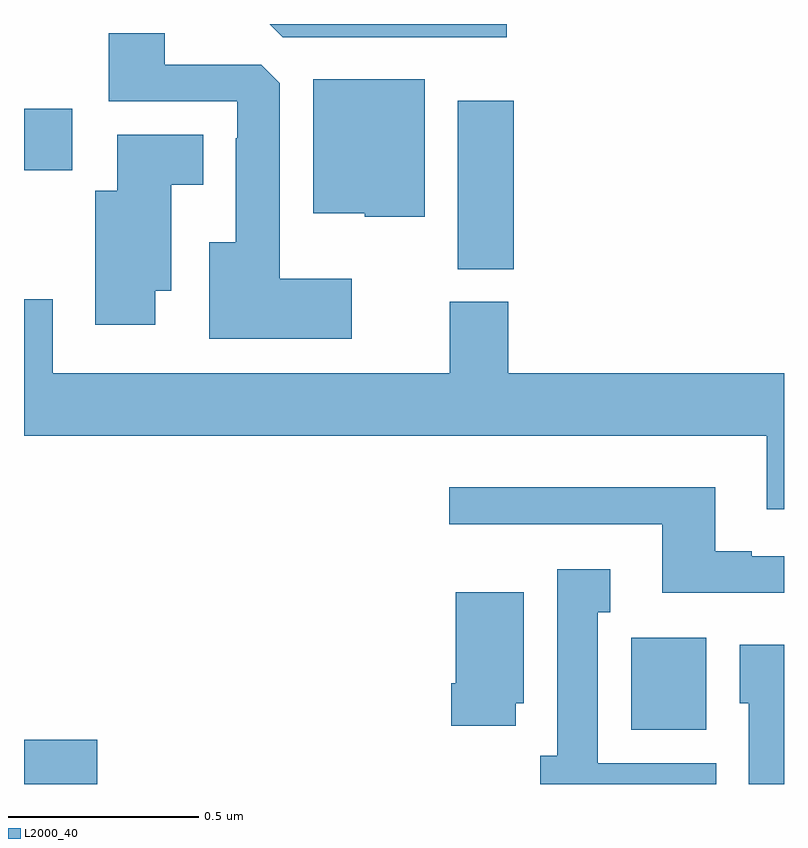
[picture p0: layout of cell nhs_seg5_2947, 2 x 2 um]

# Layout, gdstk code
import gdstk
lib = gdstk.Library(unit=1e-6, precision=1e-09)
def R(c, l, rs):  # rectangles x0, y0, x1, y1
    for r in rs: c.add(gdstk.rectangle(r[:2], r[2:], *l))
def P(c, l, *ps):  # polygons
    for p in ps: c.add(gdstk.Polygon(p, *l))
L2000_40 = (2000, 40)

nhs_seg5_2947 = lib.new_cell('nhs_seg5_2947')
R(nhs_seg5_2947, L2000_40, [(150,899.799,150.193,899.915), (151.598,899.942,151.795,900.184), (151.142,901.153,151.289,901.597), (150,901.414,150.127,901.576)])
P(nhs_seg5_2947, L2000_40, [(151.27,901.799),(150.647,901.799),(150.681,901.764),(151.27,901.764)],
  [(150.862,901.129),(150.673,901.129),(150.673,901.643),(150.624,901.692),(150.37,901.692),(150.37,901.775),(150.223,901.775),(150.223,901.596),(150.561,901.596),(150.561,901.499),(150.557,901.499),(150.557,901.225),(150.488,901.225),(150.488,900.971),(150.862,900.971)],
  [(151.054,901.654),(150.761,901.654),(150.761,901.301),(150.897,901.301),(150.897,901.292),(151.054,901.292)],
  [(150.346,901.097),(150.388,901.097),(150.388,901.376),(150.472,901.376),(150.472,901.507),(150.245,901.507),(150.245,901.36),(150.188,901.36),(150.188,901.008),(150.346,901.008)],
  [(152,900.88),(151.274,900.88),(151.274,901.068),(151.121,901.068),(151.121,900.88),(150.076,900.88),(150.076,901.075),(150,901.075),(150,900.716),(151.955,900.716),(151.955,900.522),(152,900.522)],
  [(152,900.399),(151.915,900.399),(151.915,900.412),(151.819,900.412),(151.819,900.58),(151.119,900.58),(151.119,900.483),(151.679,900.483),(151.679,900.302),(152,900.302)],
  [(151.822,899.854),(151.51,899.854),(151.51,900.251),(151.543,900.251),(151.543,900.364),(151.403,900.364),(151.403,899.874),(151.358,899.874),(151.358,899.799),(151.822,899.799)],
  [(151.294,900.012),(151.315,900.012),(151.315,900.304),(151.136,900.304),(151.136,900.064),(151.124,900.064),(151.124,899.952),(151.294,899.952)],
  [(152,900.166),(151.883,900.166),(151.883,900.012),(151.907,900.012),(151.907,899.799),(152,899.799)])

lib.write_gds('nhs_seg5_2947.gds')
